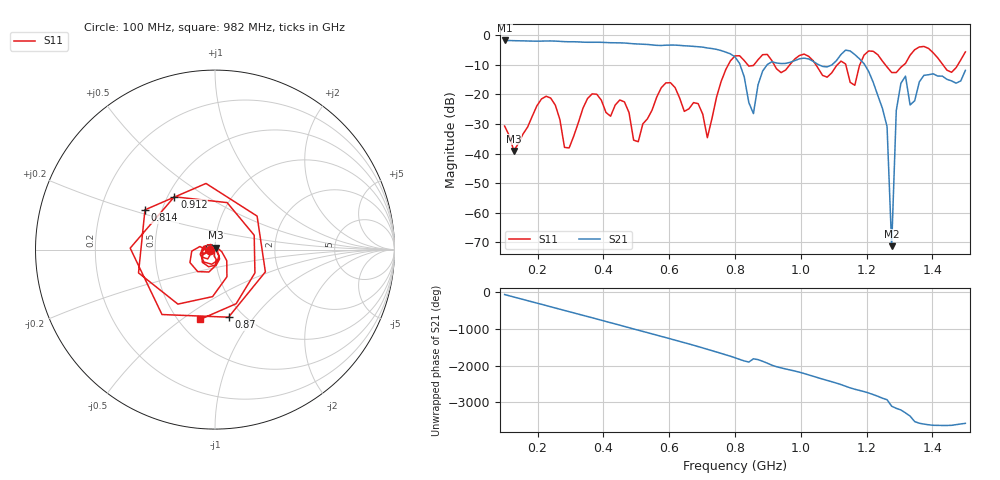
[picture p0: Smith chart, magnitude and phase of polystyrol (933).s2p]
! NanoVNA-App
! Date: 2025-09-25 15:37:08
! Start: 100MHz Stop: 1,5GHz Points: 101
! S-Parameter data: F S11 S21 S12 S22
# Hz S RI R 50
!  Frequency  S11_Real  S11_Imag  S21_Real  S21_Imag  S12_Real  S12_Imag  S22_Real  S22_Imag
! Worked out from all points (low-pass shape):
!   101 points, 100 MHz to 1.5 GHz, reference 50 ohm
!   highest |S21| = -1.80 dB at 100 MHz (marker M1); lowest = -71.3 dB at 1.276 GHz (marker M2)
!   |S21| within 3 dB of the highest: start of sweep to 743.2 MHz
!   lowest |S11| = -39.1 dB at 128 MHz (marker M3), VSWR 1.02, Z = 50.3 + j1.06 ohm
!   |S11| at or under -10 dB: start of sweep to 779.8 MHz; 1.046 GHz to 1.111 GHz (65.62 MHz wide, 6.08 % of centre); 1.257 GHz to 1.313 GHz (56.6 MHz wide, 4.4 % of centre) (the widest 3 of 7)
!   S12 and S22 are empty: the file has one direction only
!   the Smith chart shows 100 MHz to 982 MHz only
!   S11 on the Smith chart (normalised r, x): 100 MHz: 0.94, -0.01; 814 MHz: 0.40, +0.22; 870 MHz: 0.86, -0.76; 912 MHz: 0.54, +0.37; 982 MHz: 0.64, -0.59
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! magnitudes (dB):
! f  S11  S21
! 100 MHz  -30.7  -1.8
! 128 MHz  -39.1  -1.9
! 212 MHz  -21.6  -2.0
! 282 MHz  -37.9  -2.2
! 338 MHz  -24.7  -2.4
! 506 MHz  -36.0  -3.0
! 576 MHz  -17.8  -3.5
! 716 MHz  -34.7  -4.3
! 800 MHz  -7.0  -7.3
! 814 MHz  -7.0  -9.6
! 856 MHz  -10.3  -26.5
! 870 MHz  -8.3  -16.8
! 912 MHz  -8.6  -9.0
! 982 MHz  -8.0  -8.6
! 1.038 GHz  -8.7  -8.9
! 1.164 GHz  -16.9  -6.6
! 1.206 GHz  -5.4  -12.2
! 1.262 GHz  -10.8  -30.9
! 1.276 GHz  -12.6  -71.3
! 1.29 GHz  -12.6  -25.4
! 1.304 GHz  -10.9  -16.3
! 1.5 GHz  -5.7  -11.9
